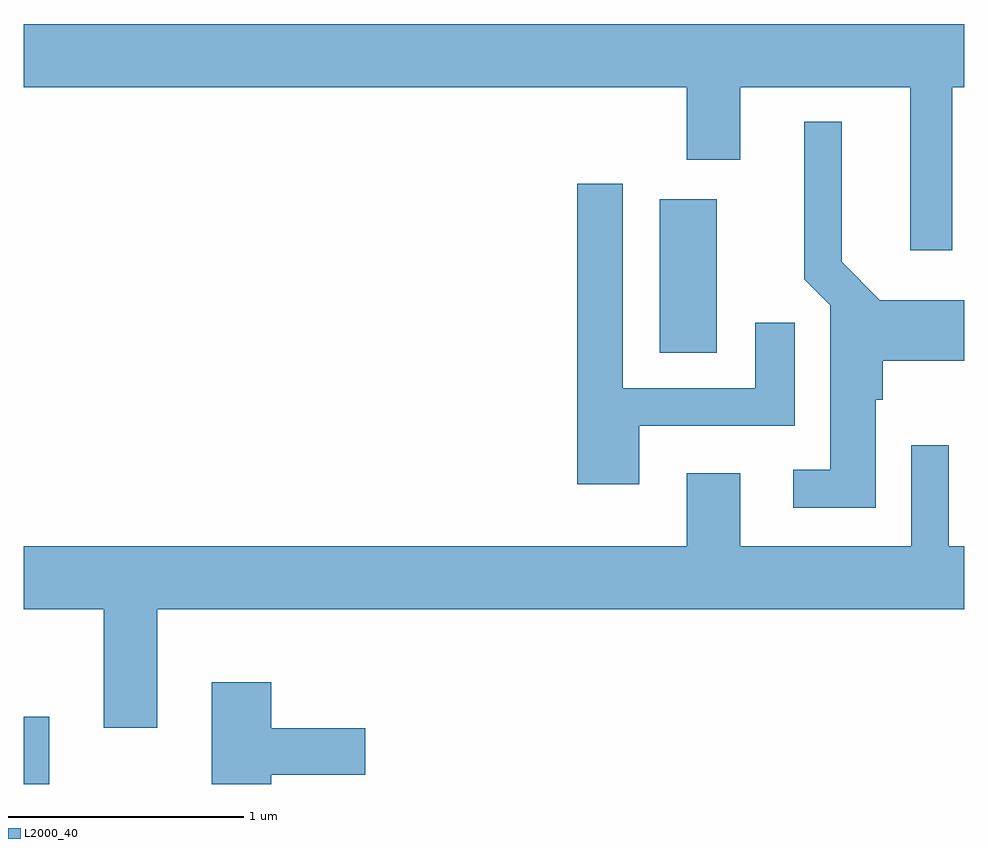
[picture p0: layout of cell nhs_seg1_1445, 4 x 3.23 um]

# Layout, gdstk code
import gdstk
lib = gdstk.Library(unit=1e-6, precision=1e-09)
def R(c, l, rs):  # rectangles x0, y0, x1, y1
    for r in rs: c.add(gdstk.rectangle(r[:2], r[2:], *l))
def P(c, l, *ps):  # polygons
    for p in ps: c.add(gdstk.Polygon(p, *l))
L2000_40 = (2000, 40)

nhs_seg1_1445 = lib.new_cell('nhs_seg1_1445')
R(nhs_seg1_1445, L2000_40, [(229.611,907.712,229.719,907.999), (232.316,909.546,232.559,910.199)])
P(nhs_seg1_1445, L2000_40, [(233.559,910.676),(233.611,910.676),(233.611,910.944),(229.611,910.944),(229.611,910.676),(232.431,910.676),(232.431,910.366),(232.659,910.366),(232.659,910.676),(233.381,910.676),(233.381,909.981),(233.559,909.981)],
  [(233.234,909.346),(233.264,909.346),(233.264,909.511),(233.611,909.511),(233.611,909.769),(233.252,909.769),(233.089,909.932),(233.089,910.528),(232.931,910.528),(232.931,909.859),(233.041,909.749),(233.041,909.049),(232.883,909.049),(232.883,908.886),(233.234,908.886)],
  [(232.229,909.236),(232.889,909.236),(232.889,909.673),(232.721,909.673),(232.721,909.394),(232.159,909.394),(232.159,910.264),(231.966,910.264),(231.966,908.986),(232.229,908.986)],
  [(230.179,908.456),(233.611,908.456),(233.611,908.724),(233.544,908.724),(233.544,909.153),(233.386,909.153),(233.386,908.724),(232.659,908.724),(232.659,909.034),(232.431,909.034),(232.431,908.724),(229.611,908.724),(229.611,908.456),(229.951,908.456),(229.951,907.951),(230.179,907.951)],
  [(230.664,907.751),(231.064,907.751),(231.064,907.949),(230.664,907.949),(230.664,908.144),(230.411,908.144),(230.411,907.712),(230.664,907.712)])

lib.write_gds('nhs_seg1_1445.gds')
